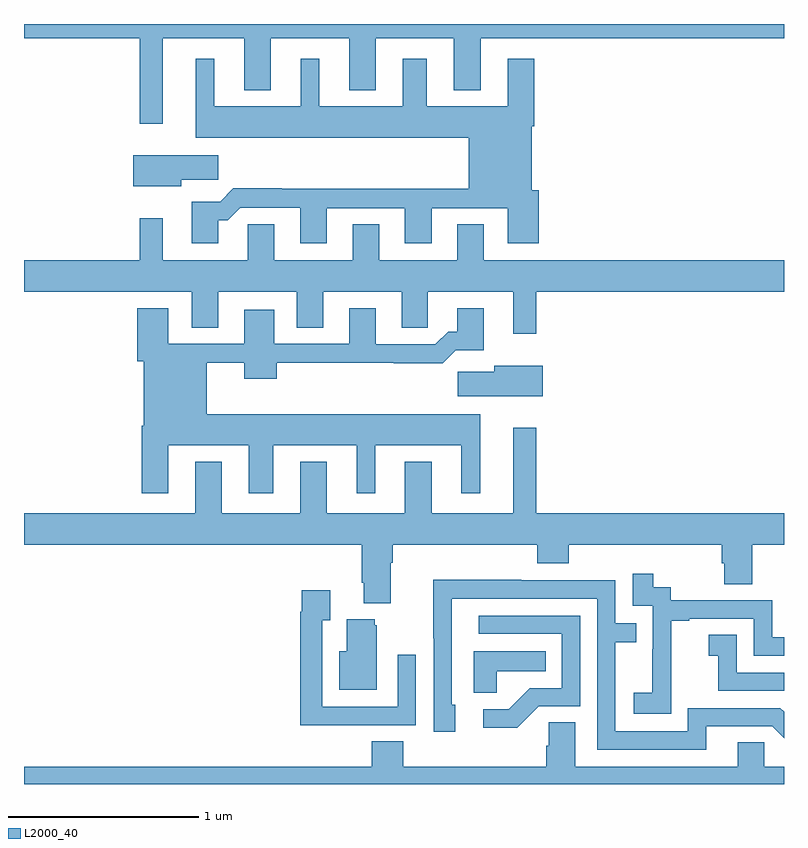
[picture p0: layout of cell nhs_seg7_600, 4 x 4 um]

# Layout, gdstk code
import gdstk
lib = gdstk.Library(unit=1e-6, precision=1e-09)
def P(c, l, *ps):  # polygons
    for p in ps: c.add(gdstk.Polygon(p, *l))
L2000_40 = (2000, 40)

nhs_seg7_600 = lib.new_cell('nhs_seg7_600')
P(nhs_seg7_600, L2000_40, [(157.729,1025.924),(158.159,1025.924),(158.159,1025.651),(158.299,1025.651),(158.299,1025.924),(158.711,1025.924),(158.711,1025.651),(158.851,1025.651),(158.851,1025.924),(159.263,1025.924),(159.263,1025.651),(159.403,1025.651),(159.403,1025.924),(161,1025.924),(161,1026),(157,1026),(157,1025.924),(157.608,1025.924),(157.608,1025.475),(157.729,1025.475)],
  [(158.023,1024.967),(158.072,1024.967),(158.139,1025.034),(158.453,1025.034),(158.453,1024.845),(158.593,1024.845),(158.593,1025.031),(159.005,1025.031),(159.005,1024.845),(159.145,1024.845),(159.145,1025.031),(159.545,1025.031),(159.545,1024.845),(159.71,1024.845),(159.71,1025.124),(159.673,1025.124),(159.673,1025.462),(159.686,1025.462),(159.686,1025.818),(159.545,1025.818),(159.545,1025.566),(159.121,1025.566),(159.121,1025.818),(158.993,1025.818),(158.993,1025.566),(158.554,1025.566),(158.554,1025.818),(158.456,1025.818),(158.456,1025.566),(158.002,1025.566),(158.002,1025.818),(157.904,1025.818),(157.904,1025.402),(159.341,1025.402),(159.341,1025.132),(158.357,1025.132),(158.357,1025.135),(158.102,1025.135),(158.032,1025.065),(157.883,1025.065),(157.883,1024.845),(158.023,1024.845)],
  [(157.828,1025.179),(158.023,1025.179),(158.023,1025.308),(157.574,1025.308),(157.574,1025.147),(157.828,1025.147)],
  [(159.697,1024.592),(161,1024.592),(161,1024.756),(159.421,1024.756),(159.421,1024.946),(159.281,1024.946),(159.281,1024.756),(158.869,1024.756),(158.869,1024.946),(158.729,1024.946),(158.729,1024.756),(158.317,1024.756),(158.317,1024.946),(158.178,1024.946),(158.178,1024.756),(157.729,1024.756),(157.729,1024.978),(157.608,1024.978),(157.608,1024.756),(157,1024.756),(157,1024.592),(157.883,1024.592),(157.883,1024.402),(158.023,1024.402),(158.023,1024.592),(158.435,1024.592),(158.435,1024.402),(158.575,1024.402),(158.575,1024.592),(158.987,1024.592),(158.987,1024.402),(159.126,1024.402),(159.126,1024.592),(159.575,1024.592),(159.575,1024.371),(159.697,1024.371)],
  [(157.759,1023.782),(158.183,1023.782),(158.183,1023.531),(158.311,1023.531),(158.311,1023.782),(158.75,1023.782),(158.75,1023.531),(158.848,1023.531),(158.848,1023.782),(159.302,1023.782),(159.302,1023.531),(159.4,1023.531),(159.4,1023.946),(157.963,1023.946),(157.963,1024.216),(158.159,1024.216),(158.159,1024.133),(158.33,1024.133),(158.33,1024.216),(158.947,1024.216),(158.947,1024.214),(159.203,1024.214),(159.272,1024.283),(159.421,1024.283),(159.421,1024.504),(159.281,1024.504),(159.281,1024.381),(159.232,1024.381),(159.165,1024.314),(158.851,1024.314),(158.851,1024.504),(158.711,1024.504),(158.711,1024.317),(158.317,1024.317),(158.317,1024.495),(158.159,1024.495),(158.159,1024.317),(157.759,1024.317),(157.759,1024.504),(157.595,1024.504),(157.595,1024.224),(157.631,1024.224),(157.631,1023.886),(157.619,1023.886),(157.619,1023.531),(157.759,1023.531)],
  [(159.73,1024.201),(159.476,1024.201),(159.476,1024.169),(159.282,1024.169),(159.282,1024.04),(159.73,1024.04)],
  [(158.929,1023.164),(158.942,1023.164),(158.942,1023.26),(159.701,1023.26),(159.701,1023.161),(159.866,1023.161),(159.866,1023.26),(160.673,1023.26),(160.673,1023.162),(160.685,1023.162),(160.685,1023.052),(160.833,1023.052),(160.833,1023.26),(161,1023.26),(161,1023.424),(159.697,1023.424),(159.697,1023.874),(159.575,1023.874),(159.575,1023.424),(159.145,1023.424),(159.145,1023.697),(159.005,1023.697),(159.005,1023.424),(158.593,1023.424),(158.593,1023.697),(158.453,1023.697),(158.453,1023.424),(158.041,1023.424),(158.041,1023.697),(157.901,1023.697),(157.901,1023.424),(157,1023.424),(157,1023.26),(158.777,1023.26),(158.777,1023.058),(158.789,1023.058),(158.789,1022.951),(158.929,1022.951)],
  [(160.407,1022.575),(160.406,1022.575),(160.406,1022.859),(160.501,1022.859),(160.501,1022.871),(160.842,1022.871),(160.842,1022.676),(161,1022.676),(161,1022.772),(160.938,1022.772),(160.938,1022.967),(160.404,1022.967),(160.404,1023.036),(160.312,1023.036),(160.312,1023.106),(160.203,1023.106),(160.203,1022.937),(160.308,1022.937),(160.308,1022.708),(160.307,1022.708),(160.307,1022.479),(160.209,1022.479),(160.209,1022.369),(160.407,1022.369)],
  [(160.591,1022.304),(160.938,1022.304),(161,1022.242),(161,1022.38),(160.98,1022.4),(160.494,1022.4),(160.494,1022.277),(160.113,1022.277),(160.113,1022.746),(160.223,1022.746),(160.223,1022.847),(160.113,1022.847),(160.113,1023.072),(159.617,1023.072),(159.617,1023.074),(159.154,1023.074),(159.154,1022.767),(159.156,1022.767),(159.156,1022.274),(159.271,1022.274),(159.271,1022.418),(159.252,1022.418),(159.252,1022.976),(160.017,1022.976),(160.017,1022.181),(160.591,1022.181)],
  [(158.747,1022.31),(159.063,1022.31),(159.063,1022.68),(158.967,1022.68),(158.967,1022.406),(158.571,1022.406),(158.571,1022.863),(158.611,1022.863),(158.611,1023.019),(158.463,1023.019),(158.463,1022.906),(158.455,1022.906),(158.455,1022.309),(158.747,1022.309)],
  [(159.708,1022.409),(159.927,1022.409),(159.927,1022.886),(159.393,1022.886),(159.393,1022.79),(159.831,1022.79),(159.831,1022.505),(159.662,1022.505),(159.551,1022.394),(159.417,1022.394),(159.417,1022.297),(159.595,1022.297)],
  [(158.857,1022.835),(158.846,1022.835),(158.846,1022.866),(158.699,1022.866),(158.699,1022.698),(158.66,1022.698),(158.66,1022.495),(158.857,1022.495)],
  [(161,1022.586),(160.752,1022.586),(160.752,1022.785),(160.605,1022.785),(160.605,1022.675),(160.654,1022.675),(160.654,1022.49),(161,1022.49)],
  [(159.489,1022.594),(159.746,1022.594),(159.746,1022.698),(159.368,1022.698),(159.368,1022.479),(159.489,1022.479)],
  [(161,1022.092),(160.896,1022.092),(160.896,1022.219),(160.757,1022.219),(160.757,1022.092),(159.901,1022.092),(159.901,1022.324),(159.762,1022.324),(159.762,1022.201),(159.749,1022.201),(159.749,1022.092),(158.996,1022.092),(158.996,1022.225),(158.831,1022.225),(158.831,1022.092),(157,1022.092),(157,1022),(161,1022)])

lib.write_gds('nhs_seg7_600.gds')
